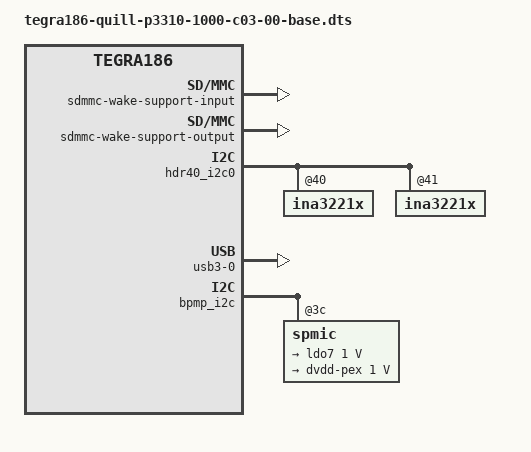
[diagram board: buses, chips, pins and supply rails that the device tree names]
/*
 * tegra186-quill-p3310-c03-00-base.dts Quill C03 Board
 *
 * Copyright (c) 2016-2019, NVIDIA CORPORATION. All rights reserved.
 *
 * This program is free software; you can redistribute it and/or modify
 * it under the terms of the GNU General Public License as published by
 * the Free Software Foundation; version 2 of the License.
 *
 * This program is distributed in the hope that it will be useful, but WITHOUT
 * ANY WARRANTY; without even the implied warranty of MERCHANTABILITY or
 * FITNESS FOR A PARTICULAR PURPOSE.  See the GNU General Public License for
 * more details.
 */

#include "tegra186-quill-p3310-1000-a00-00-base.dts"

/ {
	nvidia,dtsfilename = __FILE__;
	nvidia,dtbbuildtime = __DATE__, __TIME__;
	nvidia,fastboot-usb-vid = <0x0955>;
	nvidia,fastboot-usb-pid = <0xee16>;

	pinmux@2430000 {
		common {
			gpio_edp2_pp5 {
				status = "okay";
			};

			gpio_edp3_pp6 {
				status = "okay";
			};
		};
	};

	gpio@2200000 {
		/* gpio-name for 40-pin header, gpio-name given as COL(10) x ROW(20) */
		gpio-line-names = "",   "",     "",     "",     "",     "",     "",     "",     "",     "",
		"",     "",     "",    "",    "",     "",     "",    "",    "",     "",
		"",     "",     "",     "",     "",     "",     "",     "",     "",     "",
		"",     "",     "",     "",     "",     "",     "",     "",     "",      "",
		"",     "",     "",     "",     "",     "",     "",     "",     "",     "",
		"",    "",    "",     "",     "",     "",     "",     "",     "",     "",
		"",     "",     "",     "",     "",     "",     "",     "",     "GPIO8_ALS_PROX_INT",     "GPIO11_AP_WAKE_BT",
		"",     "",     "I2S0_CLK",     "I2S0_SDOUT",     "I2S0_SDIN",     "I2S0_LRCLK",     "AUDIO_MCLK",    "GPIO20_AUD_INT",    "GPIO1_AUD_RST",   "",
		"",     "",     "",     "",     "",     "",     "",     "",     "",     "",
		"",     "",     "",     "",     "",     "",     "",     "",     "",     "",
		"",     "",     "",     "",     "",     "",     "",     "SPI1_CLK",     "SPI1_MISO",     "SPI1_MOSI",
		"SPI1_CS0",     "",     "",     "",     "",     "",     "",     "",     "",     "",
		"",     "",     "",     "",     "",     "",     "",     "",     "",     "",
		"",     "",     "",     "",     "",     "",     "",     "",     "",     "",
		"",     "",     "",     "",     "",     "",     "UART0_RTS",     "UART0_CTS",     "",     "",
		"",     "",     "",     "",     "",     "",     "",     "",     "",     "",
		"",     "GPIO16_MDM_WAKE_AP",     "",     "",     "",     "",     "",     "",     "",   "",
		"",     "",     "",     "",     "",     "",     "",     "",     "",     "";

		sdmmc-wake-support-input {
			status = "okay";
		};

		sdmmc-wake-support-output {
			status = "okay";
		};
	};

	gpio@c2f0000 {
		/* gpio-name for 40-pin header, gpio-name given as COL(10) x ROW(20) */
		gpio-line-names = "",   "",     "",     "",     "",     "",     "",     "",     "",     "",
		"",     "",     "",    "",    "",     "",     "",    "",    "",     "",
		"",     "",     "",     "",     "",     "",     "",     "",     "",     "",
		"",     "",     "",     "",     "",     "",     "",     "",     "",      "",
		"AO_DMIC_IN_DAT",     "AO_DMIC_IN_CLK",     "GPIO9_MOTION_INT",     "",     "",     "",     "",     "",     "",     "",
		"",    "",    "",     "",     "",     "",     "",     "",     "",     "";
	};

	fixed-regulators {
		regulator@1 {
			gpio = <&tegra_main_gpio TEGRA_MAIN_GPIO(P, 6) 0>;
                };
	};

	sdhci@3400000 {
		cd-gpios = <&tegra_main_gpio TEGRA_MAIN_GPIO(P, 5) 0>;
		nvidia,cd-wakeup-capable;
	};

	hdr40_i2c0: i2c@3160000 {
		ina3221x@40 {
			channel@0 {
				ti,shunt-resistor-mohm = <10>;
			};
			channel@1 {
				ti,shunt-resistor-mohm = <10>;
			};
		};
		ina3221x@41 {
			channel@0 {
				ti,shunt-resistor-mohm = <20>;
			};
			channel@1 {
				ti,shunt-resistor-mohm = <10>;
			};
			channel@2 {
				ti,rail-name = "VDD_SYS_DDR";
				ti,shunt-resistor-mohm = <10>;
			};
		};
	};

	hdr40_i2c1: i2c@c240000 {
		bmi160@69 {
			compatible = "bmi,bmi160";
			reg = <0x69>;
			interrupt-parent = <&tegra_aon_gpio>;
			interrupts = <TEGRA_AON_GPIO(AA, 2) 0x01>;
			accelerometer_matrix    = [01 00 00 00 01 00 00 00 01];
			gyroscope_matrix        = [01 00 00 00 01 00 00 00 01];
			accelerometer_delay_us_min = <1250>;
			gyroscope_delay_us_min = <1250>;
			vdd-supply = <&spmic_sd3>;
			vdd_IO-supply = <&spmic_sd3>;
			status = "disabled";
		};
	};

	mttcan@c310000 {
		status = "okay";
		gpio_can_stb = <&tegra_aon_gpio TEGRA_AON_GPIO(AA, 0) GPIO_ACTIVE_HIGH>;
		gpio_can_en = <&tegra_aon_gpio TEGRA_AON_GPIO(AA, 1) GPIO_ACTIVE_HIGH>;
	};

	mttcan@c320000 {
		status = "okay";
		gpio_can_stb = <&tegra_aon_gpio TEGRA_AON_GPIO(AA, 6) GPIO_ACTIVE_HIGH>;
		gpio_can_en = <&tegra_aon_gpio TEGRA_AON_GPIO(AA, 7) GPIO_ACTIVE_HIGH>;
	};

	ahci-sata@3507000 {
		gpios = <&spmic 7 0>;
	};

	pcie-controller@10003000 {
		pci@1,0 {
			nvidia,num-lanes = <4>;
			nvidia,disable-clock-request;
		};
		pci@2,0 {
			nvidia,num-lanes = <0>;
		};
		pci@3,0 {
			nvidia,num-lanes = <1>;
		};
	};

        xhci@3530000 {
		phys = <&{/xusb_padctl@3520000/pads/usb2/lanes/usb2-0}>,
			<&{/xusb_padctl@3520000/pads/usb2/lanes/usb2-1}>,
			<&{/xusb_padctl@3520000/pads/usb2/lanes/usb2-2}>,
			<&{/xusb_padctl@3520000/pads/usb3/lanes/usb3-0}>;
		phy-names = "usb2-0", "usb2-1", "usb2-2", "usb3-0";
		nvidia,boost_cpu_freq = <1200>;
	};

	xusb_padctl@3520000 {
		ports {
			usb3-1 {
				status = "disabled";
			};
			usb3-0 {
				nvidia,usb2-companion = <1>;
				status = "okay";
			};
		};
	};

       bluedroid_pm {
		bluedroid_pm,reset-gpio = <&tegra_main_gpio TEGRA_MAIN_GPIO(H, 5) 0>;
        };

	bpmp_i2c {
		spmic@3c {
			pinmux@0 {
				pin_gpio2 {
					status = "disabled";
				};
				pin_gpio3 {
					status = "disabled";
				};
				pin_gpio7 {
					drive-push-pull = <1>;
				};
			};

			regulators {
				ldo0 {
					maxim,active-fps-source = <MAX77620_FPS_SRC_NONE>;
				};

				ldo6 {
					maxim,active-fps-source = <MAX77620_FPS_SRC_NONE>;
					regulator-boot-on;
					regulator-always-on;
				};

				ldo7 {
					regulator-min-microvolt = <1000000>;
					regulator-max-microvolt = <1000000>;
				};

				ldo8 {
					regulator-name = "dvdd-pex";
					regulator-min-microvolt = <1000000>;
					regulator-max-microvolt = <1000000>;
				};
			};
		};
	};

	sound {
		hdr40_snd_link_i2s: nvidia,dai-link-1 { };
	};
};
